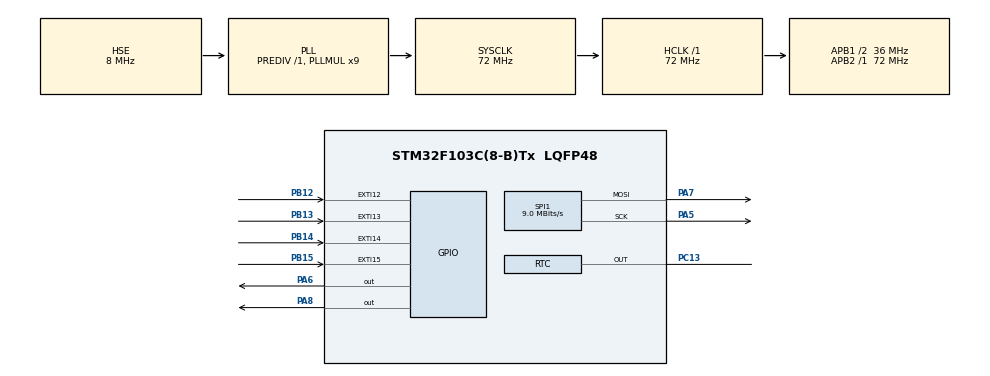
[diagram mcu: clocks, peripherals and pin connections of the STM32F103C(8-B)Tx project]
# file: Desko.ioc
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Mcu.Family=STM32F1
Mcu.Name=STM32F103C(8-B)Tx
Mcu.Package=LQFP48
NVIC.EXTI15_10_IRQn=true\:0\:0\:false\:false\:true\:true
NVIC.PriorityGroup=NVIC_PRIORITYGROUP_4
NVIC.RTC_Alarm_IRQn=true\:0\:0\:false\:false\:true\:true
NVIC.RTC_IRQn=true\:0\:0\:false\:false\:true\:true
PA13.Mode=Serial_Wire
PA13.Signal=SYS_JTMS-SWDIO
PA14.Mode=Serial_Wire
PA14.Signal=SYS_JTCK-SWCLK
PA5.Mode=TX_Only_Simplex_Unidirect_Master
PA5.Signal=SPI1_SCK
PA6.Signal=GPIO_Output
PA7.Mode=TX_Only_Simplex_Unidirect_Master
PA7.Signal=SPI1_MOSI
PA8.Signal=GPIO_Output
PB12.Signal=GPXTI12
PB13.Signal=GPXTI13
PB14.Signal=GPXTI14
PB15.Signal=GPXTI15
PC13-TAMPER-RTC.Mode=RTC OUT
PC13-TAMPER-RTC.Signal=RTC_OUT
PC14-OSC32_IN.Mode=LSE-External-Oscillator
PC14-OSC32_IN.Signal=RCC_OSC32_IN
PC15-OSC32_OUT.Mode=LSE-External-Oscillator
PC15-OSC32_OUT.Signal=RCC_OSC32_OUT
PD0-OSC_IN.Mode=HSE-External-Oscillator
PD0-OSC_IN.Signal=RCC_OSC_IN
PD1-OSC_OUT.Mode=HSE-External-Oscillator
PD1-OSC_OUT.Signal=RCC_OSC_OUT
ProjectManager.HeapSize=0x200
ProjectManager.StackSize=0x400
ProjectManager.TargetToolchain=MDK-ARM V4
RCC.AHBFreq_Value=72000000
RCC.APB1CLKDivider=RCC_HCLK_DIV2
RCC.APB1Freq_Value=36000000
RCC.APB1TimFreq_Value=72000000
RCC.APB2Freq_Value=72000000
RCC.APB2TimFreq_Value=72000000
RCC.HCLKFreq_Value=72000000
RCC.PLLMUL=RCC_PLL_MUL9
RCC.PLLSourceVirtual=RCC_PLLSOURCE_HSE
RCC.RTCClockSelection=RCC_RTCCLKSOURCE_LSE
RCC.SYSCLKFreq_VALUE=72000000
RCC.SYSCLKSource=RCC_SYSCLKSOURCE_PLLCLK
RCC.USBFreq_Value=72000000
RTC.Date=14
RTC.Format=RTC_FORMAT_BIN
RTC.Hours=4
RTC.Hours_A-RTC\ OUT=4
RTC.Minutes=30
RTC.Minutes_A-RTC\ OUT=31
RTC.Month=RTC_MONTH_JULY
RTC.Seconds=0
RTC.Seconds_A-RTC\ OUT=1
RTC.Year=18
SPI1.BaudRatePrescaler=SPI_BAUDRATEPRESCALER_8
SPI1.CalculateBaudRate=9.0 MBits/s
SPI1.DataSize=SPI_DATASIZE_16BIT
SPI1.Direction=SPI_DIRECTION_2LINES
SPI1.Mode=SPI_MODE_MASTER
SPI1.VirtualType=VM_MASTER
VP_RTC_VS_RTC_Activate.Mode=RTC_Enabled
board=Desko

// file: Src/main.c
/**
  ******************************************************************************
  * @file           : main.c
  * @brief          : Main program body
  ******************************************************************************
  ** This notice applies to any and all portions of this file
  * that are not between comment pairs USER CODE BEGIN and
  * USER CODE END. Other portions of this file, whether
  * inserted by the user or by software development tools
  * are owned by their respective copyright owners.
  *
  * COPYRIGHT(c) 2018 STMicroelectronics
  *
  * Redistribution and use in source and binary forms, with or without modification,
  * are permitted provided that the following conditions are met:
  *   1. Redistributions of source code must retain the above copyright notice,
  *      this list of conditions and the following disclaimer.
  *   2. Redistributions in binary form must reproduce the above copyright notice,
  *      this list of conditions and the following disclaimer in the documentation
  *      and/or other materials provided with the distribution.
  *   3. Neither the name of STMicroelectronics nor the names of its contributors
  *      may be used to endorse or promote products derived from this software
  *      without specific prior written permission.
  *
  * THIS SOFTWARE IS PROVIDED BY THE COPYRIGHT HOLDERS AND CONTRIBUTORS "AS IS"
  * AND ANY EXPRESS OR IMPLIED WARRANTIES, INCLUDING, BUT NOT LIMITED TO, THE
  * IMPLIED WARRANTIES OF MERCHANTABILITY AND FITNESS FOR A PARTICULAR PURPOSE ARE
  * DISCLAIMED. IN NO EVENT SHALL THE COPYRIGHT HOLDER OR CONTRIBUTORS BE LIABLE
  * FOR ANY DIRECT, INDIRECT, INCIDENTAL, SPECIAL, EXEMPLARY, OR CONSEQUENTIAL
  * DAMAGES (INCLUDING, BUT NOT LIMITED TO, PROCUREMENT OF SUBSTITUTE GOODS OR
  * SERVICES; LOSS OF USE, DATA, OR PROFITS; OR BUSINESS INTERRUPTION) HOWEVER
  * CAUSED AND ON ANY THEORY OF LIABILITY, WHETHER IN CONTRACT, STRICT LIABILITY,
  * OR TORT (INCLUDING NEGLIGENCE OR OTHERWISE) ARISING IN ANY WAY OUT OF THE USE
  * OF THIS SOFTWARE, EVEN IF ADVISED OF THE POSSIBILITY OF SUCH DAMAGE.
  *
  ******************************************************************************
  */
#include "main.h"
#include "stm32f1xx_hal.h"

/* USER CODE BEGIN Includes */
#include "WordClock.h"
/* USER CODE END Includes */

RTC_HandleTypeDef hrtc;

SPI_HandleTypeDef hspi1;

/* USER CODE BEGIN PV */
/* Private variables ---------------------------------------------------------*/
RTC_TimeTypeDef rtc_time;
//RTC_DateTypeDef rtc_date;
RTC_AlarmTypeDef alarm_time;
bool isAlarmInterrupt = false;
bool isRTCInterrupt = false;
bool isSetAlarm = false;
bool isEditButtonPressed = false;
bool isUpButtonPressed = false;
bool isDownButtonPressed = false;
bool isAlarmButtonPressed = false;
uint8_t isBuzzerRinging = 0;
typedef enum {
	WORD, TIME, ALARM
}MODE;
MODE currentMode = WORD;
typedef enum {
	NONE, TOP_LEFT, TOP_RIGHT, BOTTOM_LEFT, BOTTOM_RIGHT
}EDIT_POSITION;
EDIT_POSITION currentEditPosition = NONE;
/* USER CODE END PV */

void SystemClock_Config(void);
static void MX_GPIO_Init(void);
static void MX_SPI1_Init(void);
static void MX_RTC_Init(void);

/* USER CODE BEGIN PFP */
/* Private function prototypes -----------------------------------------------*/
void HAL_RTC_AlarmAEventCallback(RTC_HandleTypeDef *hrtc);
void HAL_RTCEx_RTCEventCallback(RTC_HandleTypeDef *hrtc);
void HAL_GPIO_EXTI_Callback(uint16_t GPIO_Pin);
void edit_button(void);
void up_button(void);
void down_button(void);
void edit_number(uint8_t* number, int8_t operate, uint8_t param);
/* USER CODE END PFP */

int main(void)
{

  /* MCU Configuration----------------------------------------------------------*/

  /* Reset of all peripherals, Initializes the Flash interface and the Systick. */
  HAL_Init();

  /* Configure the system clock */
  SystemClock_Config();

  /* Initialize all configured peripherals */
  MX_GPIO_Init();
  MX_SPI1_Init();
  MX_RTC_Init();
  /* USER CODE BEGIN 2 */
	led_init(&hspi1);
	HAL_RTCEx_SetSecond_IT(&hrtc);
	NVIC_EnableIRQ(RTC_IRQn);
	HAL_RTC_DeactivateAlarm(&hrtc, RTC_ALARM_A);
	isSetAlarm = false;
	alarm_time.AlarmTime.Hours = 0;
  alarm_time.AlarmTime.Minutes = 0;
  alarm_time.AlarmTime.Seconds = 1;
  alarm_time.Alarm = RTC_ALARM_A;
  /* USER CODE END 2 */

  /* Infinite loop */
  while (1)
  {

  /* USER CODE BEGIN 3 */
		if(isAlarmInterrupt){
			HAL_GPIO_WritePin(BZ_PORT, BZ_PIN, GPIO_PIN_SET);
			isBuzzerRinging = 1;
			isAlarmInterrupt = false;
		}
		if(isAlarmButtonPressed){
			if(isBuzzerRinging){
				HAL_GPIO_WritePin(BZ_PORT, BZ_PIN, GPIO_PIN_RESET);
				isBuzzerRinging = 0;
			}
			if(isSetAlarm) {
				isSetAlarm = false;
				HAL_RTC_DeactivateAlarm(&hrtc, RTC_ALARM_A);
			}
			else {
				isSetAlarm = true;
				HAL_RTC_SetAlarm_IT(&hrtc, &alarm_time, RTC_FORMAT_BIN);
			}
			isAlarmButtonPressed = false;
		}
		if(isEditButtonPressed){
			if(isBuzzerRinging){
				HAL_GPIO_WritePin(BZ_PORT, BZ_PIN, GPIO_PIN_RESET);
				isBuzzerRinging = 0;
			}
			edit_button();
			isEditButtonPressed = false;
			edit_position(&hspi1, currentEditPosition);
		}
		if(isUpButtonPressed){
			if(isBuzzerRinging){
				HAL_GPIO_WritePin(BZ_PORT, BZ_PIN, GPIO_PIN_RESET);
				isBuzzerRinging = 0;
			}
			up_button();
			isUpButtonPressed = false;
		}
		if(isDownButtonPressed){
			if(isBuzzerRinging){
				HAL_GPIO_WritePin(BZ_PORT, BZ_PIN, GPIO_PIN_RESET);
				isBuzzerRinging = 0;
			}
			down_button();
			isDownButtonPressed = false;
		}
		if(isRTCInterrupt){
			if(isBuzzerRinging){
				if(isBuzzerRinging == 21){
					HAL_GPIO_WritePin(BZ_PORT, BZ_PIN, GPIO_PIN_RESET);
					isBuzzerRinging = 0;
				}
				else isBuzzerRinging++;
			}
			HAL_RTC_GetTime(&hrtc, &rtc_time, RTC_FORMAT_BIN);
//			HAL_RTC_GetDate(&hrtc, &rtc_date, RTC_FORMAT_BIN);
			switch(currentMode)
			{
				case WORD:{
					display_word(&hspi1, rtc_time.Hours, rtc_time.Minutes, rtc_time.Seconds);
					break;
				}
				case TIME:{
					display_number(&hspi1, rtc_time.Hours, rtc_time.Minutes);
					edit_position(&hspi1, currentEditPosition);
					break;
				}
//				case DATE:{
//					display_number(&hspi1, rtc_date.Date, rtc_date.Month);
//					break;
//				}
				case ALARM:{
					display_number(&hspi1, alarm_time.AlarmTime.Hours, alarm_time.AlarmTime.Minutes);
					break;
				}
			}
			isRTCInterrupt = false;
		}
  }
  /* USER CODE END 3 */

}

void SystemClock_Config(void)
{

  RCC_OscInitTypeDef RCC_OscInitStruct;
  RCC_ClkInitTypeDef RCC_ClkInitStruct;
  RCC_PeriphCLKInitTypeDef PeriphClkInit;

    /**Initializes the CPU, AHB and APB busses clocks
    */
  RCC_OscInitStruct.OscillatorType = RCC_OSCILLATORTYPE_HSE|RCC_OSCILLATORTYPE_LSE;
  RCC_OscInitStruct.HSEState = RCC_HSE_ON;
  RCC_OscInitStruct.HSEPredivValue = RCC_HSE_PREDIV_DIV1;
  RCC_OscInitStruct.LSEState = RCC_LSE_ON;
  RCC_OscInitStruct.HSIState = RCC_HSI_ON;
  RCC_OscInitStruct.PLL.PLLState = RCC_PLL_ON;
  RCC_OscInitStruct.PLL.PLLSource = RCC_PLLSOURCE_HSE;
  RCC_OscInitStruct.PLL.PLLMUL = RCC_PLL_MUL9;
  if (HAL_RCC_OscConfig(&RCC_OscInitStruct) != HAL_OK)
  {
    _Error_Handler(__FILE__, __LINE__);
  }

    /**Initializes the CPU, AHB and APB busses clocks
    */
  RCC_ClkInitStruct.ClockType = RCC_CLOCKTYPE_HCLK|RCC_CLOCKTYPE_SYSCLK
                              |RCC_CLOCKTYPE_PCLK1|RCC_CLOCKTYPE_PCLK2;
  RCC_ClkInitStruct.SYSCLKSource = RCC_SYSCLKSOURCE_PLLCLK;
  RCC_ClkInitStruct.AHBCLKDivider = RCC_SYSCLK_DIV1;
  RCC_ClkInitStruct.APB1CLKDivider = RCC_HCLK_DIV2;
  RCC_ClkInitStruct.APB2CLKDivider = RCC_HCLK_DIV1;

  if (HAL_RCC_ClockConfig(&RCC_ClkInitStruct, FLASH_LATENCY_2) != HAL_OK)
  {
    _Error_Handler(__FILE__, __LINE__);
  }

  PeriphClkInit.PeriphClockSelection = RCC_PERIPHCLK_RTC;
  PeriphClkInit.RTCClockSelection = RCC_RTCCLKSOURCE_LSE;
  if (HAL_RCCEx_PeriphCLKConfig(&PeriphClkInit) != HAL_OK)
  {
    _Error_Handler(__FILE__, __LINE__);
  }

    /**Configure the Systick interrupt time
    */
  HAL_SYSTICK_Config(HAL_RCC_GetHCLKFreq()/1000);

    /**Configure the Systick
    */
  HAL_SYSTICK_CLKSourceConfig(SYSTICK_CLKSOURCE_HCLK);

  /* SysTick_IRQn interrupt configuration */
  HAL_NVIC_SetPriority(SysTick_IRQn, 0, 0);
}

/* RTC init function */
static void MX_RTC_Init(void)
{

  RTC_TimeTypeDef sTime;
  RTC_DateTypeDef DateToUpdate;
  RTC_AlarmTypeDef sAlarm;

    /**Initialize RTC Only
    */
  hrtc.Instance = RTC;
  hrtc.Init.AsynchPrediv = RTC_AUTO_1_SECOND;
  hrtc.Init.OutPut = RTC_OUTPUTSOURCE_ALARM;
  if (HAL_RTC_Init(&hrtc) != HAL_OK)
  {
    _Error_Handler(__FILE__, __LINE__);
  }
  /* USER CODE BEGIN RTC_Init 2 */
	if( HAL_RTC_GetState(& hrtc)== HAL_RTC_STATE_RESET)
	{
  /* USER CODE END RTC_Init 2 */

    /**Initialize RTC and set the Time and Date
    */
  sTime.Hours = 6;
  sTime.Minutes = 27;
  sTime.Seconds = 0;

  if (HAL_RTC_SetTime(&hrtc, &sTime, RTC_FORMAT_BIN) != HAL_OK)
  {
    _Error_Handler(__FILE__, __LINE__);
  }

  DateToUpdate.WeekDay = RTC_WEEKDAY_MONDAY;
  DateToUpdate.Month = RTC_MONTH_JULY;
  DateToUpdate.Date = 14;
  DateToUpdate.Year = 18;

  if (HAL_RTC_SetDate(&hrtc, &DateToUpdate, RTC_FORMAT_BIN) != HAL_OK)
  {
    _Error_Handler(__FILE__, __LINE__);
  }

    /**Enable the Alarm A
    */
  sAlarm.AlarmTime.Hours = 4;
  sAlarm.AlarmTime.Minutes = 31;
  sAlarm.AlarmTime.Seconds = 1;
  sAlarm.Alarm = RTC_ALARM_A;
  if (HAL_RTC_SetAlarm_IT(&hrtc, &sAlarm, RTC_FORMAT_BIN) != HAL_OK)
  {
    _Error_Handler(__FILE__, __LINE__);
  }
	}

}

/* SPI1 init function */
static void MX_SPI1_Init(void)
{

  /* SPI1 parameter configuration*/
  hspi1.Instance = SPI1;
  hspi1.Init.Mode = SPI_MODE_MASTER;
  hspi1.Init.Direction = SPI_DIRECTION_2LINES;
  hspi1.Init.DataSize = SPI_DATASIZE_16BIT;
  hspi1.Init.CLKPolarity = SPI_POLARITY_LOW;
  hspi1.Init.CLKPhase = SPI_PHASE_1EDGE;
  hspi1.Init.NSS = SPI_NSS_SOFT;
  hspi1.Init.BaudRatePrescaler = SPI_BAUDRATEPRESCALER_8;
  hspi1.Init.FirstBit = SPI_FIRSTBIT_MSB;
  hspi1.Init.TIMode = SPI_TIMODE_DISABLE;
  hspi1.Init.CRCCalculation = SPI_CRCCALCULATION_DISABLE;
  hspi1.Init.CRCPolynomial = 10;
  if (HAL_SPI_Init(&hspi1) != HAL_OK)
  {
    _Error_Handler(__FILE__, __LINE__);
  }

}

/** Configure pins as
        * Analog
        * Input
        * Output
        * EVENT_OUT
        * EXTI
*/
static void MX_GPIO_Init(void)
{

  GPIO_InitTypeDef GPIO_InitStruct;

  /* GPIO Ports Clock Enable */
  __HAL_RCC_GPIOC_CLK_ENABLE();
  __HAL_RCC_GPIOD_CLK_ENABLE();
  __HAL_RCC_GPIOA_CLK_ENABLE();
  __HAL_RCC_GPIOB_CLK_ENABLE();

  /*Configure GPIO pin Output Level */
  HAL_GPIO_WritePin(GPIOA, GPIO_PIN_6|GPIO_PIN_8, GPIO_PIN_RESET);

  /*Configure GPIO pins : PA6 PA8 */
  GPIO_InitStruct.Pin = GPIO_PIN_6|GPIO_PIN_8;
  GPIO_InitStruct.Mode = GPIO_MODE_OUTPUT_PP;
  GPIO_InitStruct.Pull = GPIO_NOPULL;
  GPIO_InitStruct.Speed = GPIO_SPEED_FREQ_LOW;
  HAL_GPIO_Init(GPIOA, &GPIO_InitStruct);

  /*Configure GPIO pins : PB12 PB13 PB14 PB15 */
  GPIO_InitStruct.Pin = GPIO_PIN_12|GPIO_PIN_13|GPIO_PIN_14|GPIO_PIN_15;
  GPIO_InitStruct.Mode = GPIO_MODE_IT_RISING;
  GPIO_InitStruct.Pull = GPIO_NOPULL;
  HAL_GPIO_Init(GPIOB, &GPIO_InitStruct);

  /* EXTI interrupt init*/
  HAL_NVIC_SetPriority(EXTI15_10_IRQn, 0, 0);
  HAL_NVIC_EnableIRQ(EXTI15_10_IRQn);

}

/* USER CODE BEGIN 4 */
void HAL_RTC_AlarmAEventCallback(RTC_HandleTypeDef *hrtc)
{
	isAlarmInterrupt = true;
}

void HAL_RTCEx_RTCEventCallback(RTC_HandleTypeDef *hrtc)
{
	if(RTC_IT_SEC) {
		isRTCInterrupt = true;
	}
}

void HAL_GPIO_EXTI_Callback(uint16_t GPIO_Pin)
{
		if (GPIO_Pin == GPIO_PIN_15)
	 {
			isEditButtonPressed = true;
	 }
		if (GPIO_Pin == GPIO_PIN_14)
	 {
			isUpButtonPressed = true;
	 }
	 	if (GPIO_Pin == GPIO_PIN_13)
	 {
			isDownButtonPressed = true;
	 }
	 if (GPIO_Pin == GPIO_PIN_12)
	 {
			isAlarmButtonPressed = true;
	 }
}

void edit_button(void)
{
	if(currentMode == WORD) return;
	uint8_t temp = currentEditPosition;
	temp = (temp == BOTTOM_RIGHT)? NONE: temp + 1;
	currentEditPosition = (EDIT_POSITION)temp;
}

void up_button(void)
{
		 if(currentEditPosition == NONE){
			 uint8_t temp = currentMode;
			 temp = (temp == ALARM)? WORD: temp + 1;
			 currentMode = (MODE)temp;
		 }
		 else{
			 switch(currentMode)
			{
				case TIME:{
					switch (currentEditPosition)
					{
						case TOP_LEFT: {
							edit_number(&rtc_time.Hours, 10, 14);
							break;
						}
						case TOP_RIGHT: {
							edit_number(&rtc_time.Hours, 1, 23);
							break;
						}
						case BOTTOM_LEFT: {
							edit_number(&rtc_time.Minutes, 10, 50);
							break;
						}
						case BOTTOM_RIGHT: {
							edit_number(&rtc_time.Minutes, 1, 59);
							break;
						}
						default: break;
					}
					HAL_RTC_SetTime(&hrtc, &rtc_time, RTC_FORMAT_BIN);
					break;
				}
//				case DATE:{
//					switch (currentEditPosition)
//					{
//						case TOP_LEFT: {
//							edit_number(&rtc_date.Date, 10, 22);
//							break;
//						}
//						case TOP_RIGHT: {
//							edit_number(&rtc_date.Date, 1, 31);
//							break;
//						}
//						case BOTTOM_LEFT: {
//							edit_number(&rtc_date.Month, 10, 3);
//							break;
//						}
//						case BOTTOM_RIGHT: {
//							edit_number(&rtc_date.Month, 1, 12);
//							break;
//						}
//						default: break;
//					}
//					HAL_RTC_SetDate(&hrtc, &rtc_date, RTC_FORMAT_BIN);
//					break;
//				}
				case ALARM:{
					switch (currentEditPosition)
					{
						case TOP_LEFT: {
							edit_number(&alarm_time.AlarmTime.Hours, 10, 14);
							break;
						}
						case TOP_RIGHT: {
							edit_number(&alarm_time.AlarmTime.Hours, 1, 23);
							break;
						}
						case BOTTOM_LEFT: {
							edit_number(&alarm_time.AlarmTime.Minutes, 10, 50);
							break;
						}
						case BOTTOM_RIGHT: {
							edit_number(&alarm_time.AlarmTime.Minutes, 1, 59);
							break;
						}
						default: break;
					}
					break;
				}
				default: break;
			}
		 }
}

void down_button(void)
{
		 if(currentEditPosition == NONE){
			 uint8_t temp = currentMode;
			 temp = (temp == WORD)? ALARM: temp - 1;
			 currentMode = (MODE)temp;
		 }
		 else{
				switch(currentMode)
			{
				case TIME:{
					switch (currentEditPosition)
					{
						case TOP_LEFT: {
							edit_number(&rtc_time.Hours, -10, 9);
							break;
						}
						case TOP_RIGHT: {
							edit_number(&rtc_time.Hours, -1, 0);
							break;
						}
						case BOTTOM_LEFT: {
							edit_number(&rtc_time.Minutes, -10, 9);
							break;
						}
						case BOTTOM_RIGHT: {
							edit_number(&rtc_time.Minutes, -1, 0);
							break;
						}
						default: break;
					}
					HAL_RTC_SetTime(&hrtc, &rtc_time, RTC_FORMAT_BIN);
					break;
				}
//				case DATE:{
//					switch (currentEditPosition)
//					{
//						case TOP_LEFT: {
//							edit_number(&rtc_date.Date, -10, 9);
//							break;
//						}
//						case TOP_RIGHT: {
//							edit_number(&rtc_date.Date, -1, 1);
//							break;
//						}
//						case BOTTOM_LEFT: {
//							edit_number(&rtc_date.Month, -10, 9);
//							break;
//						}
//						case BOTTOM_RIGHT: {
//							edit_number(&rtc_date.Month, -1, 1);
//							break;
//						}
//						default: break;
//					}
//					HAL_RTC_SetDate(&hrtc, &rtc_date, RTC_FORMAT_BIN);
//					break;
//				}
				case ALARM:{
					switch (currentEditPosition)
					{
						case TOP_LEFT: {
							edit_number(&alarm_time.AlarmTime.Hours, -10, 9);
							break;
						}
						case TOP_RIGHT: {
							edit_number(&alarm_time.AlarmTime.Hours, -1, 0);
							break;
						}
						case BOTTOM_LEFT: {
							edit_number(&alarm_time.AlarmTime.Minutes, -10, 9);
							break;
						}
						case BOTTOM_RIGHT: {
							edit_number(&alarm_time.AlarmTime.Minutes, -1, 0);
							break;
						}
						default: break;
					}
					break;
				}
				default: break;
			}
		 }
}

void edit_number(uint8_t* number, int8_t operate, uint8_t param)
{
	switch(operate)
	{
		case 1:
		{
			*number = (*number == param) ? *number : *number + 1;
			break;
		}
		case -1:
		{
			*number = (*number == param) ? *number : *number - 1;
			break;
		}
		case 10:
		{
			*number = (*number >= param) ? *number : *number + 10;
			break;
		}
		case -10:
		{
			*number = (*number <= param) ? *number : *number - 10;
			break;
		}
		default: break;
	}
}

bool getAlarmStatus(void)
{
	return isSetAlarm;
}

/* USER CODE END 4 */

void _Error_Handler(char *file, int line)
{
  while(1)
  {
  }
}

/************************ (C) COPYRIGHT STMicroelectronics *****END OF FILE****/
